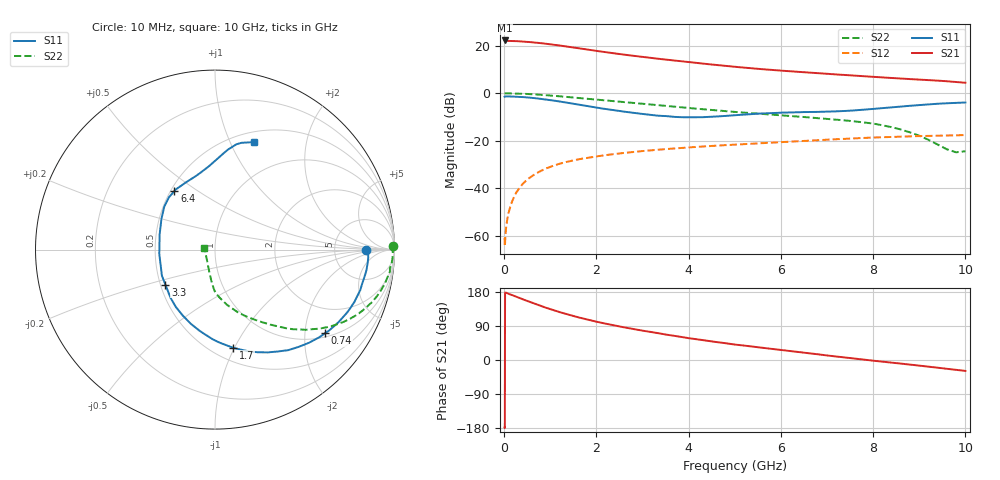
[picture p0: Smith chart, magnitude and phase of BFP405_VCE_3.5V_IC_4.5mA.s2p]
! Infineon Technologies  Discrete & RF Semiconductors
! BFP405
! VCE =  3.5 V,  IC =  4.5 mA
! Common Emitter S-Parameters:  Jan 2016
# GHz  S  MA  R  50
!  f  S11  S21  S12  S22
! GHz  MAG  ANG  MAG  ANG  MAG  ANG  MAG  ANG
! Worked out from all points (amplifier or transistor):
!   233 points, 10 MHz to 10 GHz, reference 50 ohm
!   highest |S21| = 22.2 dB at 10 MHz (marker M1)
!   |S21| within 3 dB of that: start of sweep to 1.512 GHz
!   unconditionally stable (mu >= 1): start of sweep to 17.04 MHz; 3.56 GHz to end of sweep
!   at 200 MHz: K = 0.11, MSG = 33.1 dB, |S12| = -44.3 dB
!   at 1.74 GHz: K = 0.51, MSG = 23.0 dB, |S12| = -27.4 dB
!   at 10 GHz: K = 1.47, MAG = 7.0 dB, |S12| = -17.6 dB
!   S11 on the Smith chart (normalised r, x): 10 MHz: 12, -0; 740 MHz: 1.11, -2.54; 1.7 GHz: 0.62, -0.99; 3.3 GHz: 0.53, -0.23; 6.4 GHz: 0.52, +0.40; 10 GHz: 0.61, +1.23
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0.01  0.8421 -0.1  12.89 -177.9  0.0009 -15.5  0.9898 1.2
0.02  0.8528 -0.5  12.73 178.0  0.0007 66.4  0.9876 0.0
0.07  0.8546 -3.6  12.6 176.1  0.0023 78.5  0.9908 -1.4
0.24  0.8426 -12.3  12.51 168.0  0.0074 82.5  0.9808 -5.8
0.5  0.8153 -25.5  12.07 155.9  0.0151 77.0  0.963 -11.7
0.74  0.7706 -37.2  11.46 145.1  0.0216 71.7  0.9329 -16.9
0.9  0.7376 -44.7  11.02 138.2  0.0258 68.4  0.9091 -20.1
1.14  0.6821 -55.7  10.28 128.7  0.0313 63.9  0.8703 -24.6
1.4  0.6217 -67.0  9.472 119.4  0.0365 59.6  0.8267 -28.9
1.68  0.5601 -78.7  8.641 110.3  0.0416 55.7  0.7807 -32.9
1.7  0.5563 -79.5  8.583 109.7  0.0419 55.4  0.7775 -33.2
2  0.4981 -91.8  7.779 101.1  0.0467 51.8  0.7315 -37.0
2.4  0.4346 -108.1  6.874 90.9  0.0524 47.7  0.6753 -41.4
2.86  0.3796 -126.8  6.027 80.5  0.0585 43.7  0.6161 -46.0
3.3  0.3383 -144.8  5.36 71.6  0.064 40.2  0.563 -49.9
3.4  0.3329 -149.2  5.227 69.5  0.0652 39.4  0.5512 -50.9
4  0.3113 -175.5  4.512 57.6  0.0721 35.0  0.4871 -56.6
5.1  0.3487 147.8  3.523 39.5  0.0836 27.6  0.3968 -66.7
6.4  0.3971 124.8  2.808 20.8  0.0976 19.8  0.3202 -76.9
6.8  0.4036 117.1  2.638 15.1  0.1024 17.2  0.2981 -80.1
8.4  0.5045 88.7  2.087 -6.9  0.1198 4.8  0.1924 -94.6
10  0.6365 70.2  1.657 -28.8  0.1311 -6.9  0.0599 173.7
